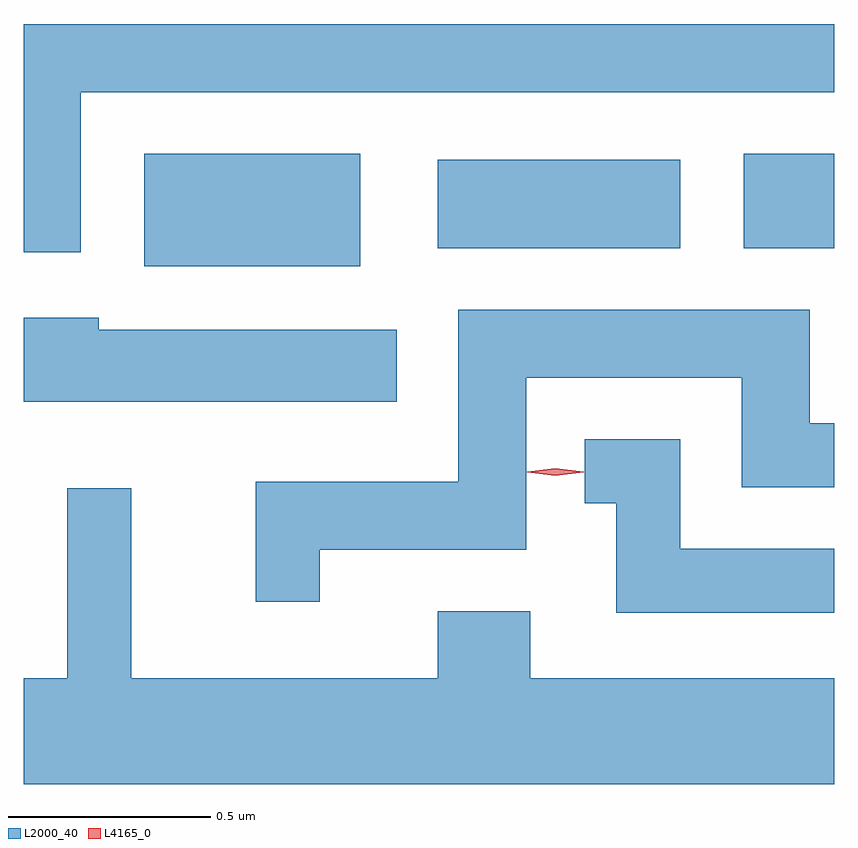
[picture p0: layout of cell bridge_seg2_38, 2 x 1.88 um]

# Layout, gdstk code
import gdstk
lib = gdstk.Library(unit=1e-6, precision=1e-09)
def R(c, l, rs):  # rectangles x0, y0, x1, y1
    for r in rs: c.add(gdstk.rectangle(r[:2], r[2:], *l))
def P(c, l, *ps):  # polygons
    for p in ps: c.add(gdstk.Polygon(p, *l))
L2000_40 = (2000, 40)
L4165_0 = (4165, 0)

bridge_seg2_38 = lib.new_cell('bridge_seg2_38')
R(bridge_seg2_38, L2000_40, [(1415.546,1054.041,1416.079,1054.319), (1416.271,1054.086,1416.869,1054.304), (1417.026,1054.086,1417.249,1054.319)])
P(bridge_seg2_38, L2000_40, [(1415.389,1054.471),(1417.249,1054.471),(1417.249,1054.639),(1415.249,1054.639),(1415.249,1054.076),(1415.389,1054.076)],
  [(1415.979,1053.341),(1416.489,1053.341),(1416.489,1053.766),(1417.021,1053.766),(1417.021,1053.496),(1417.249,1053.496),(1417.249,1053.654),(1417.189,1053.654),(1417.189,1053.934),(1416.321,1053.934),(1416.321,1053.509),(1415.821,1053.509),(1415.821,1053.213),(1415.979,1053.213)],
  [(1416.169,1053.884),(1415.434,1053.884),(1415.434,1053.914),(1415.249,1053.914),(1415.249,1053.706),(1416.169,1053.706)],
  [(1417.249,1053.344),(1416.869,1053.344),(1416.869,1053.614),(1416.633,1053.614),(1416.633,1053.456),(1416.711,1053.456),(1416.711,1053.186),(1417.249,1053.186)],
  [(1417.249,1053.024),(1416.499,1053.024),(1416.499,1053.189),(1416.271,1053.189),(1416.271,1053.024),(1415.514,1053.024),(1415.514,1053.493),(1415.356,1053.493),(1415.356,1053.024),(1415.249,1053.024),(1415.249,1052.763),(1417.249,1052.763)])
P(bridge_seg2_38, L4165_0, [(1416.561,1053.524),(1416.492,1053.533),(1416.492,1053.534),(1416.492,1053.534),(1416.561,1053.543),(1416.631,1053.534),(1416.631,1053.534),(1416.631,1053.533)])

lib.write_gds('bridge_seg2_38.gds')
